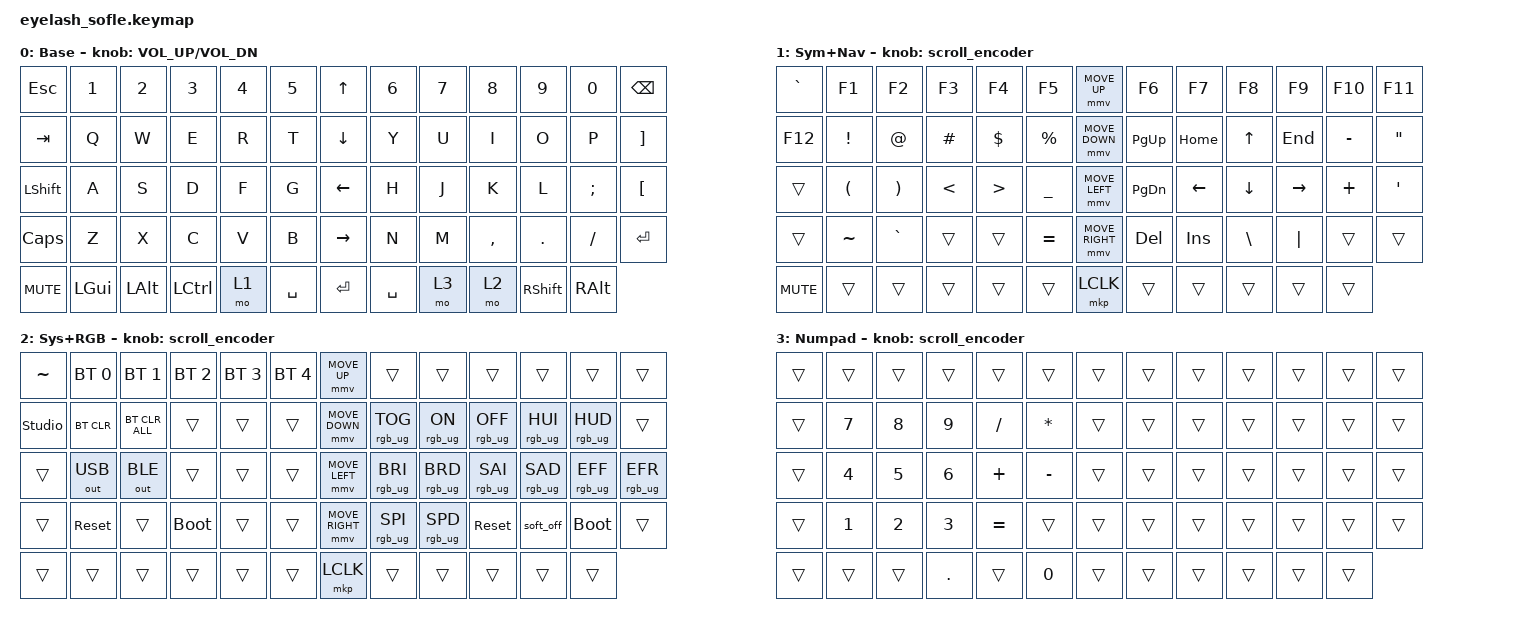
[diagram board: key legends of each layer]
#include <input/processors.dtsi>
#include <behaviors.dtsi>
#include <dt-bindings/zmk/bt.h>
#include <dt-bindings/zmk/keys.h>
#include <dt-bindings/zmk/outputs.h>
#include <dt-bindings/zmk/pointing.h>
#include <dt-bindings/zmk/ext_power.h>
#include <dt-bindings/zmk/rgb.h>
#include <zephyr/dt-bindings/input/input-event-codes.h>

#define ZMK_POINTING_DEFAULT_MOVE_VAL 1200  // 600
#define ZMK_POINTING_DEFAULT_SCRL_VAL 35    // 10

/ {
  zip_scroll_scaler: zip_scroll_scaler {
    compatible = "zmk,input-processor-scaler";
    #input-processor-cells = <2>;
    type = <INPUT_EV_REL>;
    codes = <INPUT_REL_WHEEL INPUT_REL_HWHEEL>;
    track-remainders;
  };
};

&mmv_input_listener {
       input-processors = <&zip_xy_scaler 2 1>;
};

&msc_input_listener {
       input-processors = <&zip_scroll_scaler 2 1>;
};

&msc {
    acceleration-exponent = <0>;      // 0
    time-to-max-speed-ms = <0>;       // 300
    delay-ms = <0>;                   // 0
};

&mmv {
    time-to-max-speed-ms = <400>;
    acceleration-exponent = <1>;
};

// Require holding the key for 2s to prevent accidental shutdown
&soft_off {
    hold-time-ms = <2000>;
};

/ {
    scroll_encoder: scroll_encoder {
        compatible = "zmk,behavior-sensor-rotate";
        #sensor-binding-cells = <0>;
        bindings = <&msc SCRL_DOWN>, <&msc SCRL_UP>;

        // Longer tap-ms avoids accidental scroll ticks when pressing the encoder button
        tap-ms = <100>;
    };

    keymap {
        compatible = "zmk,keymap";

        // -----------------------------------------------------------------------------------------
        // Layer 0 - Base (QWERTY)
        // [ and ] on outer column (Shift gives { and })
        // LSHFT on home row (A col), CAPS on bottom row (Z col)
        // Left thumb:  mo1(Sym+Nav) | SPACE
        // Right thumb: SPACE | mo3(Numpad) | mo2(Sys) | RSHIFT | BSPC
        // -----------------------------------------------------------------------------------------
        layer0 {
            bindings = <
&kp ESC    &kp N1       &kp N2       &kp N3    &kp N4  &kp N5    &kp UP_ARROW    &kp N6    &kp N7    &kp N8    &kp N9    &kp N0          &kp BACKSPACE
&kp TAB    &kp Q        &kp W        &kp E     &kp R   &kp T     &kp DOWN_ARROW  &kp Y     &kp U     &kp I     &kp O     &kp P           &kp RIGHT_BRACKET
&kp LSHFT  &kp A        &kp S        &kp D     &kp F   &kp G     &kp LEFT_ARROW  &kp H     &kp J     &kp K     &kp L     &kp SEMI        &kp LEFT_BRACKET
&kp CAPS   &kp Z        &kp X        &kp C     &kp V   &kp B     &kp RIGHT_ARROW &kp N     &kp M     &kp COMMA &kp DOT   &kp FSLH        &kp ENTER
&kp C_MUTE &kp LEFT_GUI &kp LEFT_ALT &kp LCTRL &mo 1   &kp SPACE &kp ENTER       &kp SPACE &mo 3     &mo 2     &kp RIGHT_SHIFT &kp RALT
            >;

            sensor-bindings = <&inc_dec_kp C_VOLUME_UP C_VOL_DN>;
            display-name = "Base";
        };

        // -----------------------------------------------------------------------------------------
        // Layer 1 - Sym + Nav  (hold mo1 - left thumb)
        // Left  : symbols  |  F12 on row1 col0
        // Right : nav + F-keys (F1-F11 on row0)  |  DQT/SQT on pinky col  |  BSLH/PIPE on row3
        // Joystick → mouse movement  |  Encoder push → left click
        // -----------------------------------------------------------------------------------------
        layer_1 {
            bindings = <
&kp GRAVE  &kp F1    &kp F2    &kp F3    &kp F4    &kp F5    &mmv MOVE_UP    &kp F6     &kp F7     &kp F8     &kp F9    &kp F10   &kp F11
&kp F12    &kp EXCL  &kp AT    &kp HASH  &kp DLLR  &kp PRCNT &mmv MOVE_DOWN  &kp PG_UP  &kp HOME   &kp UP     &kp END   &kp MINUS &kp DQT
&trans     &kp LPAR  &kp RPAR  &kp LT    &kp GT    &kp UNDER &mmv MOVE_LEFT  &kp PG_DN  &kp LEFT   &kp DOWN   &kp RIGHT &kp PLUS  &kp SQT
&trans     &kp TILDE &kp GRAVE &trans    &trans    &kp EQUAL &mmv MOVE_RIGHT &kp DELETE &kp INSERT &kp BSLH   &kp PIPE  &trans    &trans
&kp C_MUTE &trans    &trans    &trans    &trans    &trans    &mkp LCLK       &trans     &trans     &trans     &trans    &trans
            >;

            display-name = "Sym+Nav";
            sensor-bindings = <&scroll_encoder>;
        };

        // -----------------------------------------------------------------------------------------
        // Layer 2 - Sys + RGB  (hold mo2 - right thumb)
        // Left : Bluetooth / output   |   Right : full RGB control (all 11 behaviors)
        // -----------------------------------------------------------------------------------------
        layer_2 {
            bindings = <
&kp TILDE       &bt BT_SEL 0  &bt BT_SEL 1    &bt BT_SEL 2  &bt BT_SEL 3  &bt BT_SEL 4  &mmv MOVE_UP    &trans           &trans           &trans          &trans          &trans          &trans
&studio_unlock  &bt BT_CLR    &bt BT_CLR_ALL  &trans        &trans        &trans        &mmv MOVE_DOWN  &rgb_ug RGB_TOG  &rgb_ug RGB_ON   &rgb_ug RGB_OFF &rgb_ug RGB_HUI &rgb_ug RGB_HUD &trans
&trans          &out OUT_USB  &out OUT_BLE    &trans        &trans        &trans        &mmv MOVE_LEFT  &rgb_ug RGB_BRI  &rgb_ug RGB_BRD  &rgb_ug RGB_SAI &rgb_ug RGB_SAD &rgb_ug RGB_EFF &rgb_ug RGB_EFR
&trans          &sys_reset    &trans          &bootloader   &trans        &trans        &mmv MOVE_RIGHT &rgb_ug RGB_SPI  &rgb_ug RGB_SPD  &sys_reset      &soft_off       &bootloader     &trans
&trans          &trans        &trans          &trans        &trans        &trans        &mkp LCLK       &trans           &trans           &trans          &trans          &trans
            >;

            display-name = "Sys+RGB";
            sensor-bindings = <&scroll_encoder>;
        };

        // -----------------------------------------------------------------------------------------
        // Layer 3 - Numpad  (hold mo3 - right thumb)
        // Left hand types numbers while right thumb holds mo3
        // Row layout (top→bottom): 7 8 9 | 4 5 6 | 1 2 3
        // Left thumb: DOT (LEFT_ALT slot) and 0 (SPACE slot)
        // -----------------------------------------------------------------------------------------
        layer_3 {
            bindings = <
&trans   &trans  &trans  &trans    &trans    &trans    &trans  &trans  &trans  &trans  &trans  &trans  &trans
&trans   &kp N7  &kp N8  &kp N9    &kp FSLH  &kp STAR  &trans  &trans  &trans  &trans  &trans  &trans  &trans
&trans   &kp N4  &kp N5  &kp N6    &kp PLUS  &kp MINUS &trans  &trans  &trans  &trans  &trans  &trans  &trans
&trans   &kp N1  &kp N2  &kp N3    &kp EQUAL &trans    &trans  &trans  &trans  &trans  &trans  &trans  &trans
&trans   &trans  &trans  &kp DOT   &trans    &kp N0    &trans  &trans  &trans  &trans  &trans  &trans
            >;

            display-name = "Numpad";
            sensor-bindings = <&scroll_encoder>;
        };
    };
};
